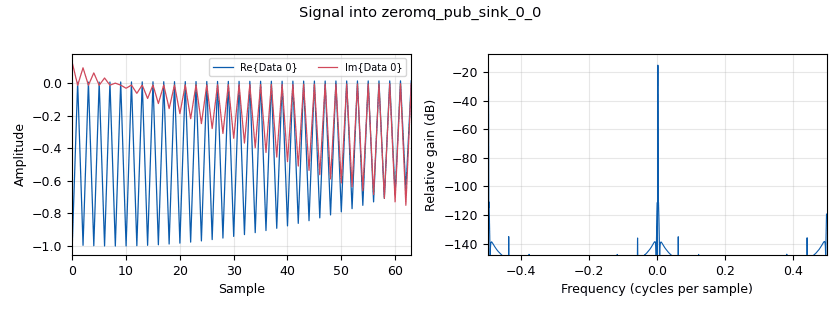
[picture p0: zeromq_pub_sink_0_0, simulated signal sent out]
options:
  parameters:
    author: Roosevelt Ubaldo based on previous implementations
    description: Generates a CW signal, TX and RX thorugh USRP, and send by ZMQ server to posprocessing.
    generate_options: qt_gui
    id: sfcw_signal_generator_simul
    output_language: python
    title: SFCW Signal Generator
  states: {}

blocks:
- name: baseband_freq
  id: variable_qtgui_range
  parameters:
    label: Baseband Frequency
    start: 1e3
    step: 1e3
    stop: 1e5
    value: 1e3
  states: {}
- name: center_freq
  id: variable
  parameters:
    value: 3.0e9
  states: {}
- name: light_speed
  id: variable
  parameters:
    value: 2.998e3
  states: {}
- name: loss
  id: variable_qtgui_range
  parameters:
    label: Loss (media and system)
    start: '0'
    step: '0.01'
    stop: '1'
    value: '0.01'
  states: {}
- name: n_channels
  id: variable
  parameters:
    value: '2'
  states: {}
- name: n_points
  id: variable
  parameters:
    value: '1024'
  states: {}
- name: noise_amp
  id: variable_qtgui_range
  parameters:
    label: Noise Level
    start: '0'
    step: '0.01'
    stop: '1'
    value: '0'
  states: {}
- name: rcs
  id: variable
  parameters:
    value: math.pi
  states: {}
- name: rx_gain
  id: variable_qtgui_range
  parameters:
    label: Reception Gain
    start: '0'
    step: '1'
    stop: '76'
    value: '10'
  states: {}
- name: samp_rate
  id: variable_qtgui_range
  parameters:
    label: Sample Rate
    start: 0.2e6
    step: 1e6
    stop: 50e6
    value: 0.2e6
  states: {}
- name: target_range
  id: variable_qtgui_range
  parameters:
    label: Target Range
    start: '1'
    step: '1'
    stop: '100'
    value: '1'
  states: {}
- name: target_speed
  id: variable_qtgui_range
  parameters:
    label: Target Speed
    start: '-100'
    step: '1'
    stop: '100'
    value: '0'
  states: {}
- name: timestamp
  id: variable_qtgui_range
  parameters:
    label: Timestamp
    start: '0'
    step: '1'
    stop: '200'
    value: '0'
  states: {}
- name: tx_gain
  id: variable_qtgui_range
  parameters:
    label: Transmission Gain
    start: '0'
    step: '1'
    stop: '76'
    value: '10'
  states: {}
- name: usrpDevice
  id: variable
  parameters:
    value: '"serial=310C4C0"'
  states: {}
- name: wave_length
  id: variable
  parameters:
    value: (light_speed/baseband_freq)
  states: {}
- name: wave_type
  id: variable_qtgui_chooser
  parameters:
    label: Waveform Type
    label0: Constant Wave
    label1: Sine Wave
    num_opts: '2'
    option0: '0'
    option1: '1'
    type: int
    value: '1'
  states: {}
- name: xmlrpc_server_port
  id: variable
  parameters:
    value: '8080'
  states: {}
- name: zmq_server_port
  id: variable
  parameters:
    value: '8082'
  states: {}
- name: analog_const_source_x_0
  id: analog_const_source_x
  parameters:
    const: rcs*(tx_gain*rx_gain*pow(wave_length,2)*loss)/(pow(4*math.pi,3)*pow(target_range,4))
    type: complex
  states: {}
- name: analog_noise_source_x_0
  id: analog_noise_source_x
  parameters:
    amp: noise_amp
    noise_type: analog.GR_GAUSSIAN
    seed: '0'
    type: complex
  states: {}
- name: analog_sig_source_x_0_0
  id: analog_sig_source_x
  parameters:
    amp: '1'
    freq: baseband_freq
    offset: '0'
    phase: '0'
    samp_rate: samp_rate
    type: complex
    waveform: analog.GR_CONST_WAVE
  states: {}
- name: analog_sig_source_x_0_0_0
  id: analog_sig_source_x
  parameters:
    amp: '1'
    freq: baseband_freq
    offset: '0'
    phase: '0'
    samp_rate: samp_rate
    type: complex
    waveform: analog.GR_SIN_WAVE
  states: {}
- name: blocks_add_xx_0
  id: blocks_add_xx
  parameters:
    type: complex
  states: {}
- name: blocks_delay_0
  id: blocks_delay
  parameters:
    delay: int(samp_rate*2*(target_range -target_speed*timestamp)/light_speed)
    type: complex
  states: {}
- name: blocks_interleave_0
  id: blocks_interleave
  parameters:
    type: complex
  states: {}
- name: blocks_multiply_xx_0
  id: blocks_multiply_xx
  parameters:
    type: complex
  states: {}
- name: blocks_selector_0_0
  id: blocks_selector
  parameters:
    enabled: 'True'
    input_index: wave_type
    num_inputs: '2'
    num_outputs: '1'
    output_index: '0'
    type: complex
  states: {}
- name: blocks_stream_to_vector_0_0
  id: blocks_stream_to_vector
  parameters:
    num_items: n_channels*n_points
    type: complex
  states: {}
- name: blocks_throttle_0
  id: blocks_throttle
  parameters:
    samples_per_second: samp_rate
    type: complex
  states: {}
- name: blocks_throttle_0_0
  id: blocks_throttle
  parameters:
    samples_per_second: samp_rate
    type: complex
  states: {}
- name: import_0
  id: import
  parameters:
    imports: import math
  states: {}
- name: qtgui_freq_sink_x_0
  id: qtgui_freq_sink_x
  parameters:
    autoscale: 'True'
    bw: samp_rate
    ctrlpanel: 'True'
    fc: baseband_freq
    fftsize: '1024'
    nconnections: '2'
    type: complex
  states: {state: disabled}
- name: qtgui_time_sink_x_0
  id: qtgui_time_sink_x
  parameters:
    label1: RX LoopBack (I)
    label2: RX LoopBack (Q)
    label3: RX Antenna (I)
    label4: RX Antenna (Q)
    name: '"Time Domain"'
    nconnections: '2'
    size: '4096'
    srate: samp_rate
    type: complex
  states: {state: disabled}
- name: xmlrpc_server_0_0
  id: xmlrpc_server
  parameters:
    addr: 127.0.0.1
    port: xmlrpc_server_port
  states: {}
- name: zeromq_pub_sink_0_0
  id: zeromq_pub_sink
  parameters:
    address: f"tcp://127.0.0.1:{zmq_server_port}"
    timeout: '100'
    type: complex
    vlen: n_channels*n_points
  states: {}

connections:
- [analog_const_source_x_0, '0', blocks_multiply_xx_0, '1']
- [analog_noise_source_x_0, '0', blocks_add_xx_0, '1']
- [analog_sig_source_x_0_0, '0', blocks_throttle_0, '0']
- [analog_sig_source_x_0_0_0, '0', blocks_throttle_0_0, '0']
- [blocks_add_xx_0, '0', blocks_multiply_xx_0, '0']
- [blocks_delay_0, '0', blocks_interleave_0, '1']
- [blocks_delay_0, '0', qtgui_freq_sink_x_0, '1']
- [blocks_delay_0, '0', qtgui_time_sink_x_0, '1']
- [blocks_interleave_0, '0', blocks_stream_to_vector_0_0, '0']
- [blocks_multiply_xx_0, '0', blocks_delay_0, '0']
- [blocks_selector_0_0, '0', blocks_add_xx_0, '0']
- [blocks_selector_0_0, '0', blocks_interleave_0, '0']
- [blocks_selector_0_0, '0', qtgui_freq_sink_x_0, '0']
- [blocks_selector_0_0, '0', qtgui_time_sink_x_0, '0']
- [blocks_stream_to_vector_0_0, '0', zeromq_pub_sink_0_0, '0']
- [blocks_throttle_0, '0', blocks_selector_0_0, '0']
- [blocks_throttle_0_0, '0', blocks_selector_0_0, '1']

metadata:
  file_format: 1
